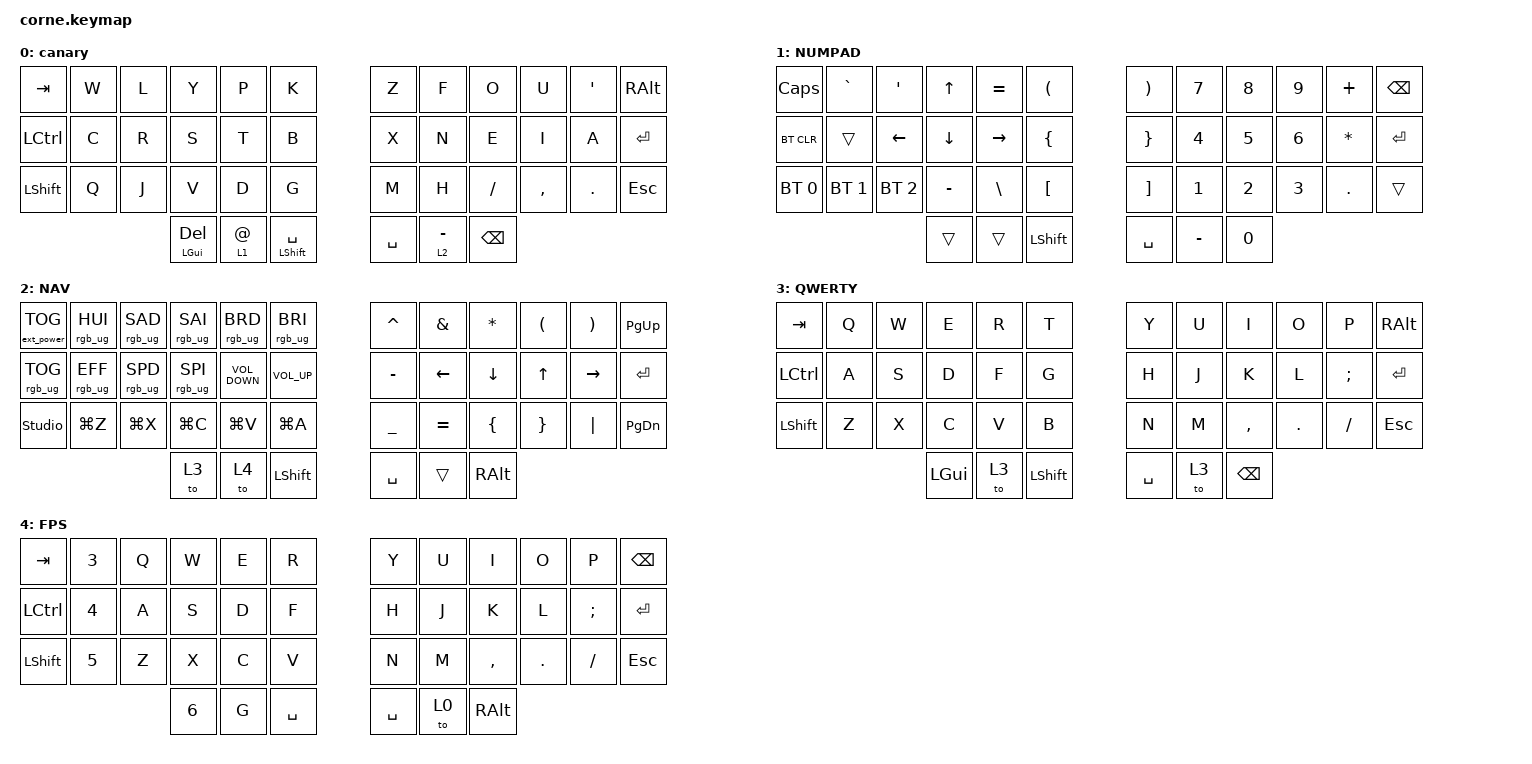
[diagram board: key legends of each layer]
/*
 * Copyright (c) 2020 The ZMK Contributors
 *
 * SPDX-License-Identifier: MIT
 */

#include <input/processors.dtsi>
#include <behaviors.dtsi>
#include <dt-bindings/zmk/bt.h>
#include <dt-bindings/zmk/ext_power.h>
#include <dt-bindings/zmk/keys.h>
#include <dt-bindings/zmk/rgb.h>

&led_strip { chain-length = <27>; };

&mt {
    quick-tap-ms = <100>;
    global-quick-tap;
    flavor = "tap-preferred";
    tapping-term-ms = <170>;
};

/ {
    macros {
        flash_macro: flash_macro {
            compatible = "zmk,behavior-macro";
            #binding-cells = <0>;
            bindings = <&bootloader>;
        };
    };

    behaviors {
        hm: homerow_mods {
            compatible = "zmk,behavior-hold-tap";
            label = "HOMEROW_MODS";
            bindings = <&kp>, <&kp>;

            #binding-cells = <2>;
            tapping-term-ms = <200>;
            quick-tap-ms = <180>;
            flavor = "tap-preferred";
        };

        ltq: ltq {
            compatible = "zmk,behavior-hold-tap";
            label = "LTQ";
            bindings = <&mo>, <&kp>;

            #binding-cells = <2>;
            tapping-term-ms = <200>;
            quick-tap-ms = <180>;
        };

        as: auto_shift {
            compatible = "zmk,behavior-hold-tap";
            label = "AUTO_SHIFT";
            bindings = <&kp>, <&kp>;

            #binding-cells = <2>;
            tapping-term-ms = <135>;
            quick-tap-ms = <0>;
        };
    };

    combos {
        compatible = "zmk,combos";

        left_bkt {
            bindings = <&kp LEFT_BRACKET>;
            key-positions = <28 29>;
            layers = <0>;
        };

        right_bkt {
            bindings = <&kp RIGHT_BRACKET>;
            key-positions = <30 31>;
            layers = <0>;
        };

        left_par {
            bindings = <&kp LEFT_PARENTHESIS>;
            key-positions = <4 5>;
            layers = <0>;
        };

        right_par {
            bindings = <&kp RIGHT_PARENTHESIS>;
            key-positions = <6 7>;
            layers = <0>;
        };

        left_brace {
            bindings = <&kp LEFT_BRACE>;
            key-positions = <16 17>;
            layers = <0>;
        };

        right_brace {
            bindings = <&kp RIGHT_BRACE>;
            key-positions = <18 19>;
            layers = <0>;
        };
    };

    keymap {
        compatible = "zmk,keymap";

        canary {
            bindings = <
&kp TAB     &kp W  &kp L  &kp Y            &kp P          &kp K               &kp Z      &kp F        &kp O          &kp U      &kp SINGLE_QUOTE  &kp RIGHT_ALT
&kp LCTRL   &kp C  &kp R  &kp S            &kp T          &kp B               &kp X      &kp N        &kp E          &kp I      &kp A             &kp RET
&kp LSHIFT  &kp Q  &kp J  &kp V            &kp D          &kp G               &kp M      &kp H        &kp FSLH       &kp COMMA  &kp PERIOD        &kp ESC
                          &mt LGUI DELETE  &lt 1 AT_SIGN  &mt LSHIFT SPACE    &kp SPACE  &lt 2 MINUS  &kp BACKSPACE
            >;
        };

        NUMPAD {
            // -----------------------------------------------------------------------------------------
            // |  TAB |  1  |  2  |  3  |  4  |  5  |   |  6  |  7  |  8  |  9  |  0  | BSPC |
            // | BTCLR| BT1 | BT2 | BT3 | BT4 | BT5 |   | LFT |  4  |  5  |  6  |     |      |
            // | SHFT |     |     |     |     |     |   |     |  1  |  2  |  3  |     |      |
            //                    | GUI |     | SPC |   | ENT |     |  0  |

            bindings = <
&kp CAPSLOCK  &kp GRAVE     &kp SINGLE_QUOTE  &kp UP_ARROW    &kp EQUAL        &kp LEFT_PARENTHESIS    &kp RIGHT_PARENTHESIS  &kp N7     &kp N8        &kp N9  &kp PLUS      &kp BACKSPACE
&bt BT_CLR    &trans        &kp LEFT_ARROW    &kp DOWN_ARROW  &kp RIGHT_ARROW  &kp LEFT_BRACE          &kp RIGHT_BRACE        &kp N4     &kp N5        &kp N6  &kp ASTERISK  &kp RET
&bt BT_SEL 0  &bt BT_SEL 1  &bt BT_SEL 2      &kp MINUS       &kp BACKSLASH    &kp LEFT_BRACKET        &kp RIGHT_BRACKET      &kp N1     &kp N2        &kp N3  &kp PERIOD    &trans
                                              &trans          &trans           &kp LSHFT               &kp SPACE              &kp MINUS  &kp NUMBER_0
            >;
        };

        NAV {
            bindings = <
&ext_power EP_TOG  &rgb_ug RGB_HUI  &rgb_ug RGB_SAD  &rgb_ug RGB_SAI  &rgb_ug RGB_BRD    &rgb_ug RGB_BRI    &kp CARET  &kp AMPS        &kp ASTRK       &kp LPAR      &kp RPAR         &kp PAGE_UP
&rgb_ug RGB_TOG    &rgb_ug RGB_EFF  &rgb_ug RGB_SPD  &rgb_ug RGB_SPI  &kp C_VOLUME_DOWN  &kp C_VOLUME_UP    &kp MINUS  &kp LEFT_ARROW  &kp DOWN_ARROW  &kp UP_ARROW  &kp RIGHT_ARROW  &kp ENTER
&studio_unlock     &kp LG(Z)        &kp LG(X)        &kp LG(C)        &kp LG(V)          &kp LG(A)          &kp UNDER  &kp EQUAL       &kp LBRC        &kp RBRC      &kp PIPE         &kp PAGE_DOWN
                                                     &to 3            &to 4              &kp LSHFT          &kp SPACE  &trans          &kp RALT
            >;
        };

        QWERTY {
            // -----------------------------------------------------------------------------------------
            // |  TAB |  Q  |  W  |  E  |  R  |  T  |   |  Y  |  U   |  I  |  O  |  P  | BKSP |
            // | CTRL |  A  |  S  |  D  |  F  |  G  |   |  H  |  J   |  K  |  L  |  ;  |  '   |
            // | SHFT |  Z  |  X  |  C  |  V  |  B  |   |  N  |  M   |  ,  |  .  |  /  | ESC  |
            //                    | GUI | DEF | SPC |   | ENT | RSE  | ALT |

            bindings = <
&kp TAB    &kp Q  &kp W  &kp E     &kp R  &kp T         &kp Y      &kp U  &kp I          &kp O    &kp P     &kp RIGHT_ALT
&kp LCTRL  &kp A  &kp S  &kp D     &kp F  &kp G         &kp H      &kp J  &kp K          &kp L    &kp SEMI  &kp RET
&kp LSHFT  &kp Z  &kp X  &kp C     &kp V  &kp B         &kp N      &kp M  &kp COMMA      &kp DOT  &kp FSLH  &kp ESC
                         &kp LGUI  &to 3  &kp LSHIFT    &kp SPACE  &to 3  &kp BACKSPACE
            >;
        };

        FPS {
            // -----------------------------------------------------------------------------------------
            // |  TAB |  3  |  Q  |  W  |  E  |  R  |   |  Y  |  U   |  I  |  O  |  P  | BKSP |
            // | CTRL |  4  |  A  |  S  |  D  |  F  |   |  H  |  J   |  K  |  L  |  ;  |  '   |
            // | SHFT |  5  |  Z  |  X  |  C  |  V  |   |  N  |  M   |  ,  |  .  |  /  | ESC  |
            //                    |  6  | DEF | SPC |   | ENT | RSE  | ALT |

            bindings = <
&kp TAB    &kp NUMBER_3  &kp Q  &kp W         &kp E  &kp R        &kp Y      &kp U  &kp I      &kp O    &kp P     &kp BSPC
&kp LCTRL  &kp NUMBER_4  &kp A  &kp S         &kp D  &kp F        &kp H      &kp J  &kp K      &kp L    &kp SEMI  &kp RET
&kp LSHFT  &kp NUMBER_5  &kp Z  &kp X         &kp C  &kp V        &kp N      &kp M  &kp COMMA  &kp DOT  &kp FSLH  &kp ESC
                                &kp NUMBER_6  &kp G  &kp SPACE    &kp SPACE  &to 0  &kp RALT
            >;
        };
    };
};
